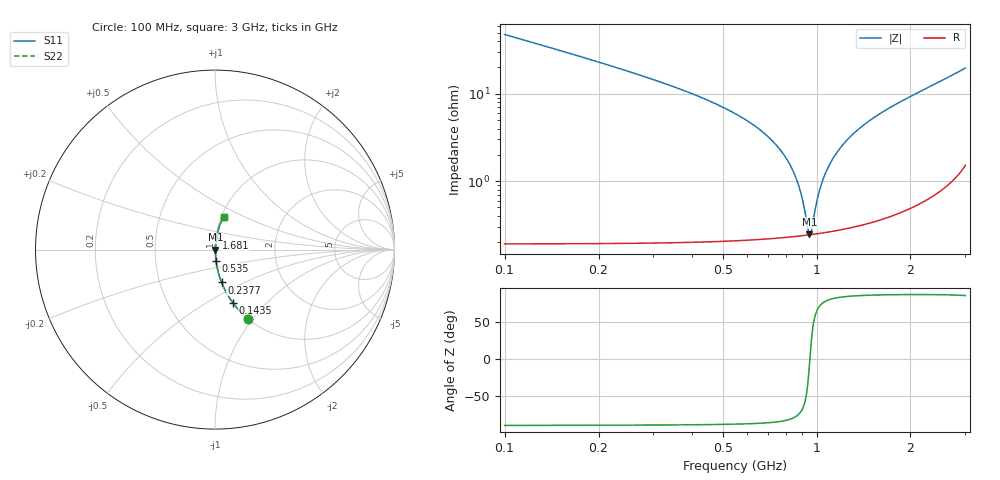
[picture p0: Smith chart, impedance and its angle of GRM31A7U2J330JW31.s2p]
!Murata Part Number: GRM31A7U2J330JW31
!These Parameters are Measured in Series Mode Connection
!Data Generated on Mar 30, 2021
!  o--ll--o
!Port1  Port2
!  o------o
!Operation Temp=25[degC], DC Bias Voltage=0[V]
!Freq. Start=100[MHz] Stop=3[GHz] 401[Steps]
# Hz S RI R 50
!Freq.(Hz) S11(Real) S11(Imag) S21(Real) S21(Imag) S12(Real) S12(Imag) S22(Real) S22(Imag)
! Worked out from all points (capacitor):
!   401 points, 100 MHz to 3 GHz, reference 50 ohm
!   read as one part in series: C = 33 pF near 114.5 MHz
!   lowest |Z| = 247 mohm at 948.2 MHz (marker M1)
!   series resonance near 952 MHz, so ESL is about 850 pH
!   S11 on the Smith chart (normalised r, x): 100 MHz: 1.00, -0.95; 143.5 MHz: 1.00, -0.66; 237.8 MHz: 1.00, -0.38; 535 MHz: 1.00, -0.12; 1.681 GHz: 1.01, +0.13; 3 GHz: 1.03, +0.39
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1e8  0.1864 -0.3874  0.8136 0.3874  0.8136 0.3874  0.1864 -0.3874
1.435e8  0.0989 -0.2956  0.9011 0.2956  0.9011 0.2956  0.0989 -0.2956
2.3775e8  0.0368 -0.1831  0.9632 0.1831  0.9632 0.1831  0.0368 -0.1831
5.35e8  0.00589 -0.0617  0.9941 0.0617  0.9941 0.0617  0.00589 -0.0617
5.8575e8  0.00474 -0.0513  0.9953 0.0513  0.9953 0.0513  0.00474 -0.0513
7.3075e8  0.00296 -0.0274  0.997 0.0274  0.997 0.0274  0.00296 -0.0274
8.25e8  0.00251 -0.0148  0.9975 0.0148  0.9975 0.0148  0.00251 -0.0148
8.83e8  0.00241 -0.00776  0.9976 0.00776  0.9976 0.00776  0.00241 -0.00776
9.0475e8  0.00241 -0.00526  0.9976 0.00526  0.9976 0.00526  0.00241 -0.00526
9.3375e8  0.00241 -0.002  0.9976 0.002  0.9976 0.002  0.00241 -0.002
9.4825e8  0.00243 -0.000407  0.9976 0.000407  0.9976 0.000407  0.00243 -0.000407
9.6275e8  0.00245 0.00116  0.9976 -0.00116  0.9976 -0.00116  0.00245 0.00116
1.02075e9  0.00257 0.00725  0.9974 -0.00725  0.9974 -0.00725  0.00257 0.00725
1.0715e9  0.00274 0.0124  0.9973 -0.0124  0.9973 -0.0124  0.00274 0.0124
1.144e9  0.00306 0.0193  0.9969 -0.0193  0.9969 -0.0193  0.00306 0.0193
1.2455e9  0.00367 0.0286  0.9963 -0.0286  0.9963 -0.0286  0.00367 0.0286
1.376e9  0.0047 0.04  0.9953 -0.04  0.9953 -0.04  0.0047 0.04
1.55e9  0.00646 0.0546  0.9935 -0.0546  0.9935 -0.0546  0.00646 0.0546
1.6805e9  0.00809 0.0653  0.9919 -0.0653  0.9919 -0.0653  0.00809 0.0653
2.03575e9  0.014 0.0943  0.986 -0.0943  0.986 -0.0943  0.014 0.0943
2.5215e9  0.027 0.1365  0.973 -0.1365  0.973 -0.1365  0.027 0.1365
3e9  0.0506 0.1839  0.9494 -0.1839  0.9494 -0.1839  0.0506 0.1839
